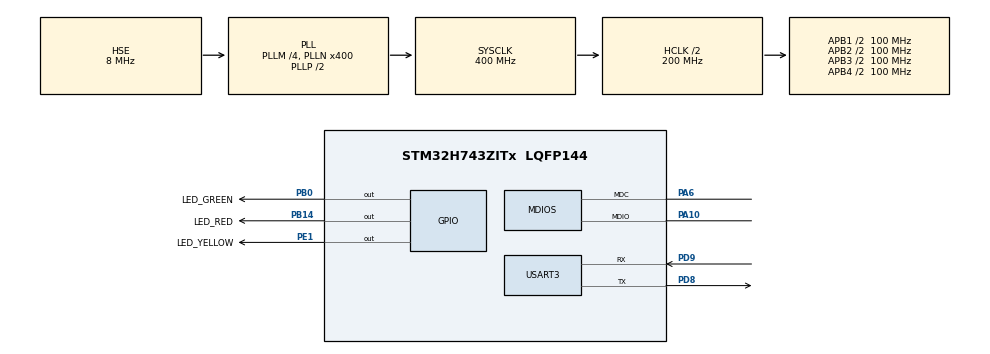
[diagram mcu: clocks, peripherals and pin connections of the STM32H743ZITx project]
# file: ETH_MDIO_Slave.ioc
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CORTEX_M7.CPU_DCache=Enabled
CORTEX_M7.CPU_ICache=Enabled
CORTEX_M7.Enable-Cortex_Memory_Protection_Unit_Region0_Settings=MPU_REGION_ENABLE
CORTEX_M7.Enable_S-Cortex_Memory_Protection_Unit_Region1_Settings_S=__NULL
CORTEX_M7.Enable_S-Cortex_Memory_Protection_Unit_Region2_Settings_S=__NULL
CORTEX_M7.MPU_Control=MPU_PRIVILEGED_DEFAULT
CORTEX_M7.default_mode_Activation=1
MDIOS.PortAddress=1
Mcu.Family=STM32H7
Mcu.Name=STM32H743ZITx
Mcu.Package=LQFP144
NVIC.HASH_RNG_IRQn=true\:5\:0\:true\:false\:true\:true\:true\:true
NVIC.MDIOS_IRQn=true\:5\:0\:true\:false\:true\:true\:true\:true
NVIC.PriorityGroup=NVIC_PRIORITYGROUP_4
NVIC.TIM6_DAC_IRQn=true\:15\:0\:false\:false\:true\:false\:true\:true
NVIC.TimeBase=TIM6_DAC_IRQn
NVIC.TimeBaseIP=TIM6
NVIC.USART3_IRQn=true\:5\:0\:true\:false\:true\:true\:true\:true
PA10.Mode=Activate
PA10.Signal=MDIOS_MDIO
PA6.Mode=Activate
PA6.Signal=MDIOS_MDC
PB0.GPIO_Label=LED_GREEN
PB0.Signal=GPIO_Output
PB14.GPIO_Label=LED_RED
PB14.Signal=GPIO_Output
PC14-OSC32_IN\ (OSC32_IN).Mode=LSE-External-Oscillator
PC14-OSC32_IN\ (OSC32_IN).Signal=RCC_OSC32_IN
PC15-OSC32_OUT\ (OSC32_OUT).Mode=LSE-External-Oscillator
PC15-OSC32_OUT\ (OSC32_OUT).Signal=RCC_OSC32_OUT
PD8.GPIO_PuPd=GPIO_PULLUP
PD8.GPIO_Speed=GPIO_SPEED_FREQ_MEDIUM
PD8.Mode=Asynchronous
PD8.Signal=USART3_TX
PD9.GPIO_Speed=GPIO_SPEED_FREQ_MEDIUM
PD9.Mode=Asynchronous
PD9.Signal=USART3_RX
PE1.GPIO_Label=LED_YELLOW
PE1.Signal=GPIO_Output
PG11.GPIO_Speed_Default_HIGH=GPIO_SPEED_FREQ_VERY_HIGH
PG11.Signal=ETH_TX_EN
PG13.GPIO_Speed_Default_HIGH=GPIO_SPEED_FREQ_VERY_HIGH
PG13.Signal=ETH_TXD0
PH0-OSC_IN\ (PH0).Mode=HSE-External-Clock-Source
PH0-OSC_IN\ (PH0).Signal=RCC_OSC_IN
ProjectManager.HeapSize=0x400
ProjectManager.StackSize=0x800
ProjectManager.TargetToolchain=STM32CubeIDE
RCC.ADCFreq_Value=16125000
RCC.APB1Freq_Value=100000000
RCC.APB2Freq_Value=100000000
RCC.APB3Freq_Value=100000000
RCC.APB4Freq_Value=100000000
RCC.CortexFreq_Value=400000000
RCC.D1PPRE=RCC_APB3_DIV2
RCC.D2PPRE1=RCC_APB1_DIV2
RCC.D2PPRE2=RCC_APB2_DIV2
RCC.D3PPRE=RCC_APB4_DIV2
RCC.DIVM1=4
RCC.DIVM3=8
RCC.DIVN1=400
RCC.DIVN3=192
RCC.DIVQ3=4
RCC.HCLKFreq_Value=200000000
RCC.HPRE=RCC_HCLK_DIV2
RCC.HSE_VALUE=8000000
RCC.PLLSourceVirtual=RCC_PLLSOURCE_HSE
RCC.PWR_Regulator_Voltage_Scale=PWR_REGULATOR_VOLTAGE_SCALE1
RCC.SYSCLKFreq_VALUE=400000000
RCC.SYSCLKSource=RCC_SYSCLKSOURCE_PLLCLK
RCC.USART234578CLockSelection=RCC_USART234578CLKSOURCE_PLL3
RCC.USBFreq_Value=400000000
USART3.DMADisableonRxErrorParam=ADVFEATURE_DMA_ENABLEONRXERROR
USART3.OverrunDisableParam=ADVFEATURE_OVERRUN_ENABLE
USART3.RXFIFOThreshold=RXFIFO_THRESHOLD_FULL
USART3.TXFIFOThreshold=TXFIFO_THRESHOLD_EMPTY
USART3.VirtualMode-Asynchronous=VM_ASYNC
VP_MEMORYMAP_VS_MEMORYMAP.Mode=CurAppReg
VP_RNG_VS_RNG.Mode=RNG_Activate
VP_SYS_VS_tim6.Mode=TIM6
board=custom

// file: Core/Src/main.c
/* USER CODE BEGIN Header */
/**
  ******************************************************************************
  * @file           : main.c
  * @brief          : Main program body
  ******************************************************************************
  * @attention
  *
  * Copyright (c) 2026 STMicroelectronics.
  * All rights reserved.
  *
  * This software is licensed under terms that can be found in the LICENSE file
  * in the root directory of this software component.
  * If no LICENSE file comes with this software, it is provided AS-IS.
  *
  ******************************************************************************
  */
/* USER CODE END Header */
#include "main.h"

/* USER CODE BEGIN Includes */
#include "logging_levels.h"
#define LOG_LEVEL LOG_DEBUG
#include "logging.h"
#include "FreeRTOS.h"
#include "task.h"

#include "cli.h"
/* USER CODE END Includes */

MDIOS_HandleTypeDef hmdios;

RNG_HandleTypeDef hrng;

UART_HandleTypeDef huart3;

/* USER CODE BEGIN PV */
#define PHY_REG_COUNT   32

static uint16_t phy_regs[PHY_REG_COUNT];
/* USER CODE END PV */

void SystemClock_Config(void);
static void MPU_Config(void);
static void MX_GPIO_Init(void);

/* USER CODE BEGIN 0 */
static void vHeartbeatTask( void * pvParameters )
{
    ( void ) pvParameters;

    while(1)
    {
    	vTaskDelay( pdMS_TO_TICKS( 1000 ) );
    	HAL_GPIO_TogglePin(LED_GREEN_GPIO_Port, LED_GREEN_Pin);
    }
}

void vInitTask( void * pvArgs )
{
    BaseType_t xResult;

    ( void ) pvArgs;

    xResult = xTaskCreate( Task_CLI, "cli", 2048, NULL, 10, NULL );
    configASSERT( xResult == pdTRUE );

    xResult = xTaskCreate( vHeartbeatTask, "Heartbeat", 128, NULL, tskIDLE_PRIORITY, NULL );
    configASSERT( xResult == pdTRUE );

    while( 1 )
    {
        vTaskSuspend( NULL );
    }
}
/* USER CODE END 0 */

int main(void)
{

  /* MPU Configuration--------------------------------------------------------*/
  MPU_Config();

  /* Enable the CPU Cache */

  /* Enable I-Cache---------------------------------------------------------*/
  SCB_EnableICache();

  /* Enable D-Cache---------------------------------------------------------*/
  SCB_EnableDCache();

  /* MCU Configuration--------------------------------------------------------*/

  /* Reset of all peripherals, Initializes the Flash interface and the Systick. */
  HAL_Init();

  /* Configure the system clock */
  SystemClock_Config();

  /* Initialize all configured peripherals */
  MX_GPIO_Init();
  MX_USART3_UART_Init();
  MX_RNG_Init();
  MX_MDIOS_Init();
  /* USER CODE BEGIN 2 */

  /* Initialize uart for logging before cli is up and running */
  vInitLoggingEarly();
  vLoggingInit();

  LogInfo( "HW Init Complete" );

  xTaskCreate( vInitTask, "Init", 1024, NULL, 8, NULL );
  /* USER CODE END 2 */

  /* Infinite loop */
  /* USER CODE BEGIN WHILE */

  /* Start scheduler */
  vTaskStartScheduler();

  LogError( "Kernel start returned." );

  /* This loop should be inaccessible.*/
  while (1)
  {
    /* USER CODE END WHILE */

  }
}

void SystemClock_Config(void)
{
  RCC_OscInitTypeDef RCC_OscInitStruct = {0};
  RCC_ClkInitTypeDef RCC_ClkInitStruct = {0};

  /** Supply configuration update enable
  */
  HAL_PWREx_ConfigSupply(PWR_LDO_SUPPLY);

  /** Configure the main internal regulator output voltage
  */
  __HAL_PWR_VOLTAGESCALING_CONFIG(PWR_REGULATOR_VOLTAGE_SCALE1);

  while(!__HAL_PWR_GET_FLAG(PWR_FLAG_VOSRDY)) {}

  /** Initializes the RCC Oscillators according to the specified parameters
  * in the RCC_OscInitTypeDef structure.
  */
  RCC_OscInitStruct.OscillatorType = RCC_OSCILLATORTYPE_HSI48|RCC_OSCILLATORTYPE_HSE;
  RCC_OscInitStruct.HSEState = RCC_HSE_BYPASS;
  RCC_OscInitStruct.HSI48State = RCC_HSI48_ON;
  RCC_OscInitStruct.PLL.PLLState = RCC_PLL_ON;
  RCC_OscInitStruct.PLL.PLLSource = RCC_PLLSOURCE_HSE;
  RCC_OscInitStruct.PLL.PLLM = 4;
  RCC_OscInitStruct.PLL.PLLN = 400;
  RCC_OscInitStruct.PLL.PLLP = 2;
  RCC_OscInitStruct.PLL.PLLQ = 2;
  RCC_OscInitStruct.PLL.PLLR = 2;
  RCC_OscInitStruct.PLL.PLLRGE = RCC_PLL1VCIRANGE_1;
  RCC_OscInitStruct.PLL.PLLVCOSEL = RCC_PLL1VCOWIDE;
  RCC_OscInitStruct.PLL.PLLFRACN = 0;
  if (HAL_RCC_OscConfig(&RCC_OscInitStruct) != HAL_OK)
  {
    Error_Handler();
  }

  /** Initializes the CPU, AHB and APB buses clocks
  */
  RCC_ClkInitStruct.ClockType = RCC_CLOCKTYPE_HCLK|RCC_CLOCKTYPE_SYSCLK
                              |RCC_CLOCKTYPE_PCLK1|RCC_CLOCKTYPE_PCLK2
                              |RCC_CLOCKTYPE_D3PCLK1|RCC_CLOCKTYPE_D1PCLK1;
  RCC_ClkInitStruct.SYSCLKSource = RCC_SYSCLKSOURCE_PLLCLK;
  RCC_ClkInitStruct.SYSCLKDivider = RCC_SYSCLK_DIV1;
  RCC_ClkInitStruct.AHBCLKDivider = RCC_HCLK_DIV2;
  RCC_ClkInitStruct.APB3CLKDivider = RCC_APB3_DIV2;
  RCC_ClkInitStruct.APB1CLKDivider = RCC_APB1_DIV2;
  RCC_ClkInitStruct.APB2CLKDivider = RCC_APB2_DIV2;
  RCC_ClkInitStruct.APB4CLKDivider = RCC_APB4_DIV2;

  if (HAL_RCC_ClockConfig(&RCC_ClkInitStruct, FLASH_LATENCY_2) != HAL_OK)
  {
    Error_Handler();
  }
}

void MX_MDIOS_Init(void)
{

  hmdios.Instance = MDIOS;
  hmdios.Init.PortAddress = 1;
  hmdios.Init.PreambleCheck = MDIOS_PREAMBLE_CHECK_ENABLE;
  if (HAL_MDIOS_Init(&hmdios) != HAL_OK)
  {
    Error_Handler();
  }
  /* USER CODE BEGIN MDIOS_Init 2 */

  // Enable READ / WRITE / ERROR interrupts
  HAL_MDIOS_EnableEvents(&hmdios);

  /* USER CODE END MDIOS_Init 2 */

}

void MX_RNG_Init(void)
{

  hrng.Instance = RNG;
  hrng.Init.ClockErrorDetection = RNG_CED_ENABLE;
  if (HAL_RNG_Init(&hrng) != HAL_OK)
  {
    Error_Handler();
  }

}

void MX_USART3_UART_Init(void)
{

  huart3.Instance = USART3;
  huart3.Init.BaudRate = 115200;
  huart3.Init.WordLength = UART_WORDLENGTH_8B;
  huart3.Init.StopBits = UART_STOPBITS_1;
  huart3.Init.Parity = UART_PARITY_NONE;
  huart3.Init.Mode = UART_MODE_TX_RX;
  huart3.Init.HwFlowCtl = UART_HWCONTROL_NONE;
  huart3.Init.OverSampling = UART_OVERSAMPLING_16;
  huart3.Init.OneBitSampling = UART_ONE_BIT_SAMPLE_DISABLE;
  huart3.Init.ClockPrescaler = UART_PRESCALER_DIV1;
  huart3.AdvancedInit.AdvFeatureInit = UART_ADVFEATURE_NO_INIT;
  if (HAL_UART_Init(&huart3) != HAL_OK)
  {
    Error_Handler();
  }
  if (HAL_UARTEx_SetTxFifoThreshold(&huart3, UART_TXFIFO_THRESHOLD_8_8) != HAL_OK)
  {
    Error_Handler();
  }
  if (HAL_UARTEx_SetRxFifoThreshold(&huart3, UART_RXFIFO_THRESHOLD_8_8) != HAL_OK)
  {
    Error_Handler();
  }
  if (HAL_UARTEx_DisableFifoMode(&huart3) != HAL_OK)
  {
    Error_Handler();
  }

}

static void MX_GPIO_Init(void)
{
  GPIO_InitTypeDef GPIO_InitStruct = {0};

  /* GPIO Ports Clock Enable */
  __HAL_RCC_GPIOC_CLK_ENABLE();
  __HAL_RCC_GPIOH_CLK_ENABLE();
  __HAL_RCC_GPIOA_CLK_ENABLE();
  __HAL_RCC_GPIOB_CLK_ENABLE();
  __HAL_RCC_GPIOD_CLK_ENABLE();
  __HAL_RCC_GPIOG_CLK_ENABLE();
  __HAL_RCC_GPIOE_CLK_ENABLE();

  /*Configure GPIO pin Output Level */
  HAL_GPIO_WritePin(GPIOB, LED_GREEN_Pin|LED_RED_Pin, GPIO_PIN_RESET);

  /*Configure GPIO pin Output Level */
  HAL_GPIO_WritePin(LED_YELLOW_GPIO_Port, LED_YELLOW_Pin, GPIO_PIN_RESET);

  /*Configure GPIO pins : LED_GREEN_Pin LED_RED_Pin */
  GPIO_InitStruct.Pin = LED_GREEN_Pin|LED_RED_Pin;
  GPIO_InitStruct.Mode = GPIO_MODE_OUTPUT_PP;
  GPIO_InitStruct.Pull = GPIO_NOPULL;
  GPIO_InitStruct.Speed = GPIO_SPEED_FREQ_LOW;
  HAL_GPIO_Init(GPIOB, &GPIO_InitStruct);

  /*Configure GPIO pins : PG11 PG13 */
  GPIO_InitStruct.Pin = GPIO_PIN_11|GPIO_PIN_13;
  GPIO_InitStruct.Mode = GPIO_MODE_AF_PP;
  GPIO_InitStruct.Pull = GPIO_NOPULL;
  GPIO_InitStruct.Speed = GPIO_SPEED_FREQ_VERY_HIGH;
  GPIO_InitStruct.Alternate = GPIO_AF11_ETH;
  HAL_GPIO_Init(GPIOG, &GPIO_InitStruct);

  /*Configure GPIO pin : LED_YELLOW_Pin */
  GPIO_InitStruct.Pin = LED_YELLOW_Pin;
  GPIO_InitStruct.Mode = GPIO_MODE_OUTPUT_PP;
  GPIO_InitStruct.Pull = GPIO_NOPULL;
  GPIO_InitStruct.Speed = GPIO_SPEED_FREQ_LOW;
  HAL_GPIO_Init(LED_YELLOW_GPIO_Port, &GPIO_InitStruct);

}

/* USER CODE BEGIN 4 */

/* MDIO Master -> WRITE PHY reg x -> IRQ -> HAL_MDIOS_WriteCpltCallback */
void HAL_MDIOS_WriteCpltCallback(MDIOS_HandleTypeDef *hmdios)
{
    uint32_t written;

    // Bitmap of registers written by MDIO master
    written = HAL_MDIOS_GetWrittenRegAddress(hmdios);

    for (uint32_t reg = 0; reg < PHY_REG_COUNT; reg++)
    {
        if (written & (1UL << reg))
        {
            uint16_t val;

            // Read DINn register written by master
            HAL_MDIOS_ReadReg(hmdios, reg, &val);

            // Store into PHY shadow registers
            phy_regs[reg] = val;

            /*!< IMPORTANT:
             The STM32 MDIOS peripheral serves MDIO READ data *before* the
             HAL_MDIOS_ReadCpltCallback() is executed (posted read behavior).
             This means the value returned to the MDIO master during a READ
             transaction is the content already present in the DOUT register.

             To ensure that a register written by the MDIO master is immediately
             readable on the very next READ access, we must proactively preload
             the DOUT register here, right after processing the WRITE transaction.
             Otherwise, the first READ after a WRITE would return the previous
             value, and the updated value would only appear on the second READ.
             */
            HAL_MDIOS_WriteReg(hmdios, reg, val);
        }
    }

    // Clear all write flags
    HAL_MDIOS_ClearWriteRegAddress(hmdios, written);
}

/* MDIO Master -> READ PHY reg x -> IRQ -> HAL_MDIOS_ReadCpltCallback */
void HAL_MDIOS_ReadCpltCallback(MDIOS_HandleTypeDef *hmdios)
{
    uint32_t read;

    // Bitmap of registers read by MDIO master
    read = HAL_MDIOS_GetReadRegAddress(hmdios);

    for (uint32_t reg = 0; reg < PHY_REG_COUNT; reg++)
    {
        if (read & (1UL << reg))
        {
            // Provide data to MDIO master
            HAL_MDIOS_WriteReg(hmdios, reg, phy_regs[reg]);
        }
    }

    // Clear all read flags
    HAL_MDIOS_ClearReadRegAddress(hmdios, read);
}

void HAL_MDIOS_ErrorCallback(MDIOS_HandleTypeDef *hmdios)
{
    // Error handling: framing, timing, protocol violation, etc.
}

/*-----------------------------------------------------------*/

void HAL_Delay( uint32_t ulDelayMs )
{
    if( xTaskGetSchedulerState() != taskSCHEDULER_NOT_STARTED )
    {
        vTaskDelay( pdMS_TO_TICKS( ulDelayMs ) );
    }
    else
    {
        uint32_t ulStartTick = HAL_GetTick();
        uint32_t ulTicksWaited = ulDelayMs;

        /* Add a freq to guarantee minimum wait */
        if( ulTicksWaited < HAL_MAX_DELAY )
        {
            ulTicksWaited += ( uint32_t ) ( HAL_GetTickFreq() );
        }

        while( ( HAL_GetTick() - ulStartTick ) < ulTicksWaited )
        {
            __NOP();
        }
    }
}

/*-----------------------------------------------------------*/

/* configUSE_STATIC_ALLOCATION is set to 1, so the application must provide an
 * implementation of vApplicationGetIdleTaskMemory() to provide the memory that is
 * used by the Idle task. */
void vApplicationGetIdleTaskMemory( StaticTask_t ** ppxIdleTaskTCBBuffer,
                                    StackType_t ** ppxIdleTaskStackBuffer,
                                    uint32_t * pulIdleTaskStackSize )
{
    /* If the buffers to be provided to the Idle task are declared inside this
     * function then they must be declared static - otherwise they will be allocated on
     * the stack and so not exists after this function exits. */
    static StaticTask_t xIdleTaskTCB;
    static StackType_t uxIdleTaskStack[ configMINIMAL_STACK_SIZE ];

    /* Pass out a pointer to the StaticTask_t structure in which the Idle task's
     * state will be stored. */
    *ppxIdleTaskTCBBuffer = &xIdleTaskTCB;

    /* Pass out the array that will be used as the Idle task's stack. */
    *ppxIdleTaskStackBuffer = uxIdleTaskStack;

    /* Pass out the size of the array pointed to by *ppxIdleTaskStackBuffer.
     * Note that, as the array is necessarily of type StackType_t,
     * configMINIMAL_STACK_SIZE is specified in words, not bytes. */
    *pulIdleTaskStackSize = configMINIMAL_STACK_SIZE;
}

/*-----------------------------------------------------------*/

/* configUSE_STATIC_ALLOCATION and configUSE_TIMERS are both set to 1, so the
 * application must provide an implementation of vApplicationGetTimerTaskMemory()
 * to provide the memory that is used by the Timer service task. */
void vApplicationGetTimerTaskMemory( StaticTask_t ** ppxTimerTaskTCBBuffer,
                                     StackType_t ** ppxTimerTaskStackBuffer,
                                     uint32_t * pulTimerTaskStackSize )
{
    /* If the buffers to be provided to the Timer task are declared inside this
     * function then they must be declared static - otherwise they will be allocated on
     * the stack and so not exists after this function exits. */
    static StaticTask_t xTimerTaskTCB;
    static StackType_t uxTimerTaskStack[ configTIMER_TASK_STACK_DEPTH ];

    /* Pass out a pointer to the StaticTask_t structure in which the Timer
     * task's state will be stored. */
    *ppxTimerTaskTCBBuffer = &xTimerTaskTCB;

    /* Pass out the array that will be used as the Timer task's stack. */
    *ppxTimerTaskStackBuffer = uxTimerTaskStack;

    /* Pass out the size of the array pointed to by *ppxTimerTaskStackBuffer.
     * Note that, as the array is necessarily of type StackType_t,
     * configMINIMAL_STACK_SIZE is specified in words, not bytes. */
    *pulTimerTaskStackSize = configTIMER_TASK_STACK_DEPTH;
}

/*-----------------------------------------------------------*/

void vApplicationMallocFailedHook( void )
{
    LogError( "Malloc failed" );

    while( 1 )
    {
        __NOP();
    }
}

/*-----------------------------------------------------------*/

void vApplicationStackOverflowHook( TaskHandle_t xTask,
                                    char * pcTaskName )

{
    volatile uint32_t ulSetToZeroToStepOut = 1UL;

    taskENTER_CRITICAL();

    LogSys( "Stack overflow in %s", pcTaskName ); /* WARN: The log message will not be output until ulSetToZeroToStepOut is reset by the user. */
    ( void ) xTask;

    while( ulSetToZeroToStepOut != 0 )
    {
        __NOP();
    }

    taskEXIT_CRITICAL();
}

/*-----------------------------------------------------------*/

#if configUSE_IDLE_HOOK == 1
void vApplicationIdleHook( void )
{
//    vPetWatchdog();
}
#endif /* configUSE_IDLE_HOOK == 1 */

/*-----------------------------------------------------------*/

/* USER CODE END 4 */

 /* MPU Configuration */

void MPU_Config(void)
{
  MPU_Region_InitTypeDef MPU_InitStruct = {0};

  /* Disables the MPU */
  HAL_MPU_Disable();

  /** Initializes and configures the Region and the memory to be protected
  */
  MPU_InitStruct.Enable = MPU_REGION_ENABLE;
  MPU_InitStruct.Number = MPU_REGION_NUMBER0;
  MPU_InitStruct.BaseAddress = 0x0;
  MPU_InitStruct.Size = MPU_REGION_SIZE_4GB;
  MPU_InitStruct.SubRegionDisable = 0x87;
  MPU_InitStruct.TypeExtField = MPU_TEX_LEVEL0;
  MPU_InitStruct.AccessPermission = MPU_REGION_NO_ACCESS;
  MPU_InitStruct.DisableExec = MPU_INSTRUCTION_ACCESS_DISABLE;
  MPU_InitStruct.IsShareable = MPU_ACCESS_SHAREABLE;
  MPU_InitStruct.IsCacheable = MPU_ACCESS_NOT_CACHEABLE;
  MPU_InitStruct.IsBufferable = MPU_ACCESS_NOT_BUFFERABLE;

  HAL_MPU_ConfigRegion(&MPU_InitStruct);
  /* Enables the MPU */
  HAL_MPU_Enable(MPU_PRIVILEGED_DEFAULT);

}

void HAL_TIM_PeriodElapsedCallback(TIM_HandleTypeDef *htim)
{
  if (htim->Instance == TIM6)
  {
    HAL_IncTick();
  }
}

void Error_Handler(void)
{
  __disable_irq();
  while (1)
  {
  }
}
